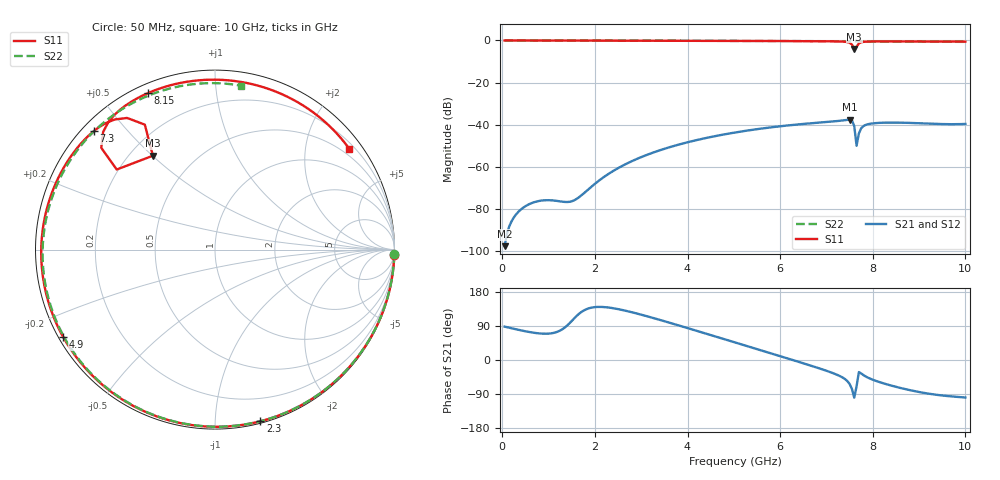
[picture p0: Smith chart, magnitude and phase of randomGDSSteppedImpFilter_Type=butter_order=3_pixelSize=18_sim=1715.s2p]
! freq	dB(S11)	phase(S11)	dB(S12)	phase(S12)
!  dB(S21)	phase(S21)	dB(S22)	phase(S22)
!S-par simulation data
#  GHz  S  DB  R 50
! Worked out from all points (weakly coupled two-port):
!   200 points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, 50 MHz to 10 GHz, reference 50 ohm
!   highest |S21| = -37.63 dB at 7.5 GHz (marker M1); lowest = -97.8 dB at 50 MHz (marker M2)
!   lowest |S11| = -4.1 dB at 7.6 GHz (marker M3), VSWR 4.36, Z = 14.5 + j25.1 ohm
!   |S11| at or under -10 dB: nowhere
!   |S22| runs from -0.7 to 0.0 dB; largest |S21 - S12| = 0
!   S11 on the Smith chart (normalised r, x): 50 MHz: 1, -66; 2.3 GHz: 0.01, -1.30; 4.9 GHz: 0.01, -0.27; 7.3 GHz: 0.03, +0.41; 8.15 GHz: 0.04, +0.66; 10 GHz: 0.33, +2.96
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0.05  -0.00 -1.7  -97.77 88.0  -97.77 88.0  -0.01 -1.4
0.4  -0.02 -13.6  -80.37 78.3  -80.37 78.3  -0.01 -11.3
0.85  -0.03 -28.7  -76.09 69.6  -76.09 69.6  -0.03 -23.9
1.45  -0.06 -48.4  -76.70 96.8  -76.70 96.8  -0.05 -40.5
1.75  -0.07 -58.0  -72.85 130.0  -72.85 130.0  -0.06 -48.6
2.3  -0.09 -75.2  -63.33 138.4  -63.33 138.4  -0.08 -63.2
3.4  -0.14 -107.8  -52.21 105.9  -52.21 105.9  -0.12 -91.4
4.9  -0.21 -150.1  -44.22 51.1  -44.22 51.1  -0.19 -128.1
5.05  -0.22 -154.3  -43.66 45.5  -43.66 45.5  -0.20 -131.7
5.9  -0.28 -178.5  -41.04 13.9  -41.04 13.9  -0.26 -152.5
6.7  -0.35 157.2  -39.29 -16.4  -39.29 -16.4  -0.32 -172.7
7.3  -0.50 135.7  -38.15 -43.0  -38.15 -43.0  -0.38 171.2
7.5  -1.09 123.7  -37.63 -63.2  -37.63 -63.2  -0.40 165.6
7.55  -1.96 119.3  -37.90 -76.5  -37.90 -76.5  -0.41 164.1
7.6  -4.05 123.5  -40.71 -99.5  -40.71 -99.5  -0.42 162.7
7.65  -3.02 140.8  -50.04 -69.5  -50.04 -69.5  -0.42 161.3
7.7  -1.41 138.2  -44.23 -31.9  -44.23 -31.9  -0.43 159.8
7.75  -0.87 133.5  -41.72 -35.5  -41.72 -35.5  -0.43 158.4
8.15  -0.46 113.3  -39.16 -58.5  -39.16 -58.5  -0.47 146.4
8.35  -0.46 105.3  -39.04 -65.9  -39.04 -65.9  -0.50 140.1
9.2  -0.50 71.3  -39.52 -88.7  -39.52 -88.7  -0.59 111.4
10  -0.58 36.9  -39.68 -99.0  -39.68 -99.0  -0.68 81.0
